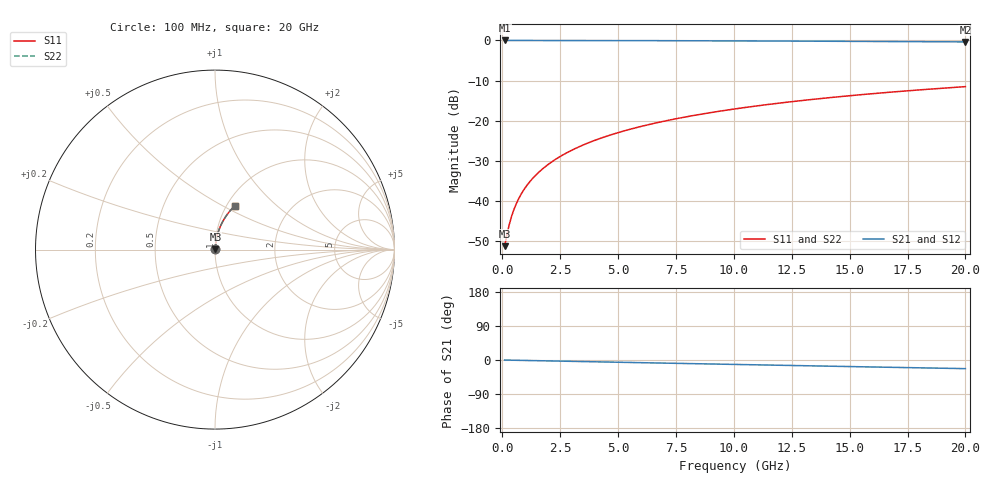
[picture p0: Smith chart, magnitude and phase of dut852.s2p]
! Touchstone file exported from HFSS 2026.1.0
!  File:  C:/ffzhzh/LocalFiles/Ansys_Project_Files/temp_train_TMRDL_852_1783156983_18472.aedt
!  Generated:  05:24:24 PM Jul  4, 2026
!  Design:  TMRDL
!  Project:  temp_train_TMRDL_852_1783156983_18472
! Variables:
!  h_bsmrdl = 2um
!  h_ox = 20um
!  h_rdl = 5um
!  h_sub = 80um
!  h_tmrdl = 2.64um
!  h_tsv = 80um
!  h_via = 3um
!  l_bsmrdl = 300um
!  l_sub = 661.64um
!  l_tmrdl = 261.64um
!  m_sub = 200um
!  pitch = 49.53um
!  r_tsv = 6um
!  s_tmrdl = 10um
!  w_bsmrdl = 18um
!  w_sub = 500um
!  w_tmrdl = 17.2um
!  x_tsv_center1 = 270.24um
!  x_tsv_center2 = 588.24um
!  x_tsv_center3 = 867.08um
!  x_tsv_center4 = 1185.08um
!  x_tsv_center5 = 1463.92um
!  x_tsv_center6 = 1781.92um
# GHz S MA R 50.000000
! Terminal data exported
! Port[1] = TM_RDL1_1_T1
! Port[2] = TM_RDL1_1_T2
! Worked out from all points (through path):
!   200 points, 100 MHz to 20 GHz, reference 50 ohm
!   highest |S21| = -0.02 dB at 100 MHz (marker M1); lowest = -0.4 dB at 20 GHz (marker M2)
!   group delay of S21, straight-line fit = 3.17 ps
!   lowest |S11| = -51.2 dB at 100 MHz (marker M3), VSWR 1.01, Z = 50.2 + j0.152 ohm
!   |S11| at or under -10 dB: start of sweep to end of sweep
!   |S22| runs from -51.2 to -11.5 dB; largest |S21 - S12| = 2.1e-15
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0.1  0.002749 33.3  0.9977 -0.1  0.9977 -0.1  0.002749 33.3
! Gamma 0 0 0 0
! Port Impedance 50 0 50 0
0.2  0.003816 52.1  0.9977 -0.2  0.9977 -0.2  0.003816 52.1
0.3  0.005099 61.8  0.9976 -0.4  0.9976 -0.4  0.005099 61.8
0.4  0.006455 67.3  0.9975 -0.5  0.9975 -0.5  0.006455 67.3
0.5  0.007835 70.8  0.9975 -0.6  0.9975 -0.6  0.007835 70.8
0.6  0.009223 73.2  0.9974 -0.7  0.9974 -0.7  0.009223 73.2
0.8  0.01201 76.3  0.9973 -1.0  0.9973 -1.0  0.01201 76.3
1.1  0.0162 79.0  0.9971 -1.3  0.9971 -1.3  0.0162 79.0
1.5  0.02181 80.8  0.997 -1.8  0.997 -1.8  0.02181 80.8
1.8  0.02604 81.5  0.9968 -2.1  0.9968 -2.1  0.02604 81.5
2.1  0.03027 82.0  0.9966 -2.5  0.9966 -2.5  0.03027 82.0
2.7  0.03874 82.4  0.9963 -3.2  0.9963 -3.2  0.03874 82.4
3.5  0.05004 82.3  0.9956 -4.1  0.9956 -4.1  0.05004 82.3
4.2  0.0599 81.9  0.995 -5.0  0.995 -5.0  0.0599 81.9
5  0.07112 81.4  0.9941 -5.9  0.9941 -5.9  0.07112 81.4
5.9  0.08369 80.6  0.9929 -7.0  0.9929 -7.0  0.08369 80.6
6.8  0.09617 79.8  0.9916 -8.0  0.9916 -8.0  0.09617 79.8
8.3  0.1168 78.2  0.9891 -9.7  0.9891 -9.7  0.1168 78.2
10.1  0.1411 76.3  0.9854 -11.8  0.9854 -11.8  0.1411 76.3
13.4  0.1844 72.8  0.9775 -15.6  0.9775 -15.6  0.1844 72.8
16.7  0.226 69.3  0.9681 -19.2  0.9681 -19.2  0.226 69.3
20  0.2657 65.8  0.9574 -22.8  0.9574 -22.8  0.2657 65.8
